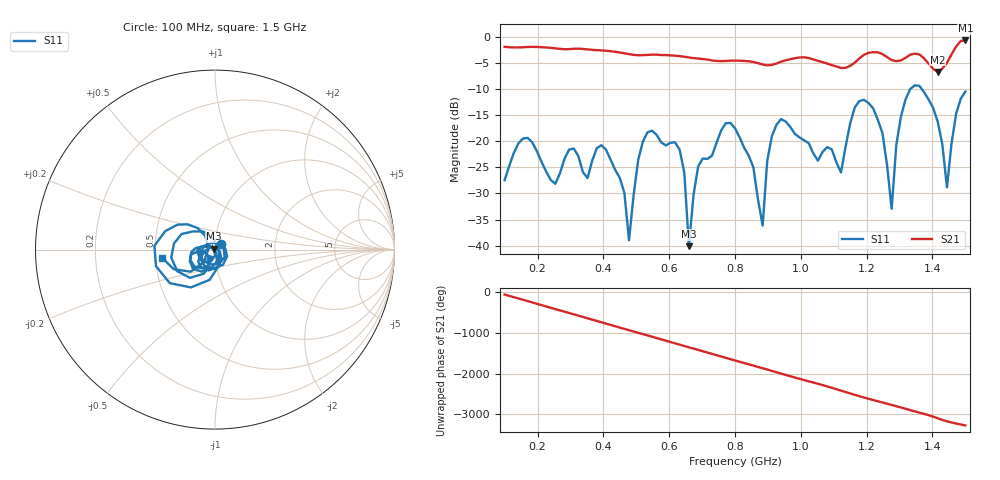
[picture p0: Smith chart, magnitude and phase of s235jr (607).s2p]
! NanoVNA-App
! Date: 2025-09-25 15:08:53
! Start: 100MHz Stop: 1,5GHz Points: 101
! S-Parameter data: F S11 S21 S12 S22
# Hz S RI R 50
!  Frequency  S11_Real  S11_Imag  S21_Real  S21_Imag  S12_Real  S12_Imag  S22_Real  S22_Imag
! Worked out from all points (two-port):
!   101 points, 100 MHz to 1.5 GHz, reference 50 ohm
!   highest |S21| = -0.75 dB at 1.5 GHz (marker M1); lowest = -6.8 dB at 1.416 GHz (marker M2)
!   |S21| within 3 dB of the highest: start of sweep to 633 MHz; 1.187 GHz to 1.258 GHz (71.01 MHz wide, 5.81 % of centre) (the widest 2 of 4)
!   lowest |S11| = -40.1 dB at 660 MHz (marker M3), VSWR 1.02, Z = 49.2 + j0.539 ohm
!   |S11| at or under -10 dB: start of sweep to 1.333 GHz; 1.367 GHz to end of sweep
!   S12 and S22 are empty: the file has one direction only
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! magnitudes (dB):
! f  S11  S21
! 100 MHz  -27.5  -2.0
! 170 MHz  -19.4  -2.0
! 338 MHz  -25.9  -2.4
! 408 MHz  -21.6  -2.7
! 478 MHz  -38.9  -3.4
! 520 MHz  -20.1  -3.6
! 576 MHz  -20.3  -3.5
! 632 MHz  -21.7  -3.7
! 660 MHz  -40.1  -4.0
! 688 MHz  -24.9  -4.2
! 800 MHz  -17.5  -4.6
! 884 MHz  -36.1  -5.3
! 926 MHz  -16.9  -5.2
! 1.038 GHz  -22.4  -4.4
! 1.122 GHz  -26.0  -6.0
! 1.206 GHz  -12.7  -3.1
! 1.276 GHz  -33.0  -4.5
! 1.29 GHz  -20.8  -4.7
! 1.332 GHz  -10.1  -3.5
! 1.416 GHz  -16.3  -6.8
! 1.444 GHz  -28.8  -5.0
! 1.5 GHz  -10.5  -0.8
